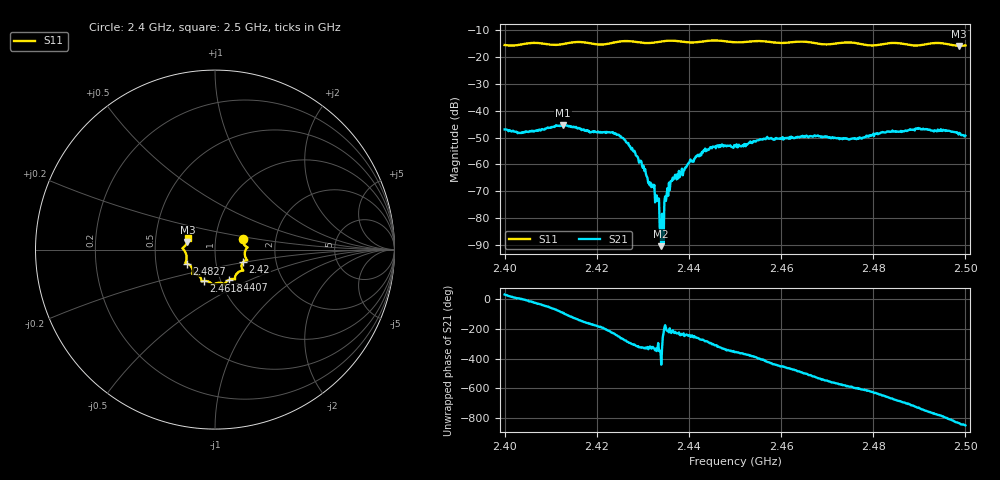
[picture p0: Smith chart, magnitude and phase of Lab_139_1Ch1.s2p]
# Hz S RI R 50
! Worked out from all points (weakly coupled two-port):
!   601 points, 2.4 GHz to 2.5 GHz, reference 50 ohm
!   highest |S21| = -45.38 dB at 2.4127 GHz (marker M1); lowest = -90.4 dB at 2.434 GHz (marker M2)
!   lowest |S11| = -15.9 dB at 2.4987 GHz (marker M3), VSWR 1.38, Z = 36.5 + j3.23 ohm
!   |S11| at or under -10 dB: start of sweep to end of sweep
!   S12 and S22 are empty: the file has one direction only
!   S11 on the Smith chart (normalised r, x): 2.4 GHz: 1.35, +0.17; 2.42 GHz: 1.35, -0.19; 2.4407 GHz: 1.10, -0.38; 2.4618 GHz: 0.83, -0.30; 2.4827 GHz: 0.72, -0.12; 2.5 GHz: 0.73, +0.09
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2.4e9  0.1544 0.0611  0.0038 0.00236  0 0  0 0
2.403667e9  0.1691 0.0198  0.00383 0.000177  0 0  0 0
2.412667e9  0.1685 -0.0388  -0.00029 -0.00538  0 0  0 0
2.416667e9  0.1788 -0.0588  -0.00364 -0.00237  0 0  0 0
2.42e9  0.1564 -0.0691  -0.00395 -1.72e-05  0 0  0 0
2.423667e9  0.1506 -0.1059  -0.00238 0.00291  0 0  0 0
2.426333e9  0.1581 -0.117  0.000377 0.00259  0 0  0 0
2.43e9  0.134 -0.1233  0.000707 0.000491  0 0  0 0
2.433333e9  0.1117 -0.1528  9.74e-05 0.000209  0 0  0 0
2.434e9  0.1114 -0.1583  4.48e-06 -2.98e-05  0 0  0 0
2.4365e9  0.1109 -0.166  -0.000497 0.000274  0 0  0 0
2.440667e9  0.0791 -0.1676  -0.000511 0.00101  0 0  0 0
2.445167e9  0.0536 -0.1943  0.00113 0.00183  0 0  0 0
2.45e9  0.0269 -0.1847  0.00225 0.000112  0 0  0 0
2.461833e9  -0.0615 -0.1749  -0.000866 -0.00311  0 0  0 0
2.466667e9  -0.0759 -0.1683  -0.00306 -0.00132  0 0  0 0
2.475e9  -0.1266 -0.1354  -0.00193 0.00224  0 0  0 0
2.482667e9  -0.158 -0.078  0.00158 0.00359  0 0  0 0
2.483333e9  -0.1619 -0.0771  0.0022 0.0034  0 0  0 0
2.489667e9  -0.161 -0.0254  0.00448 -0.000892  0 0  0 0
2.498667e9  -0.154 0.0431  -0.00168 -0.00347  0 0  0 0
2.5e9  -0.1511 0.0629  -0.00224 -0.00259  0 0  0 0
